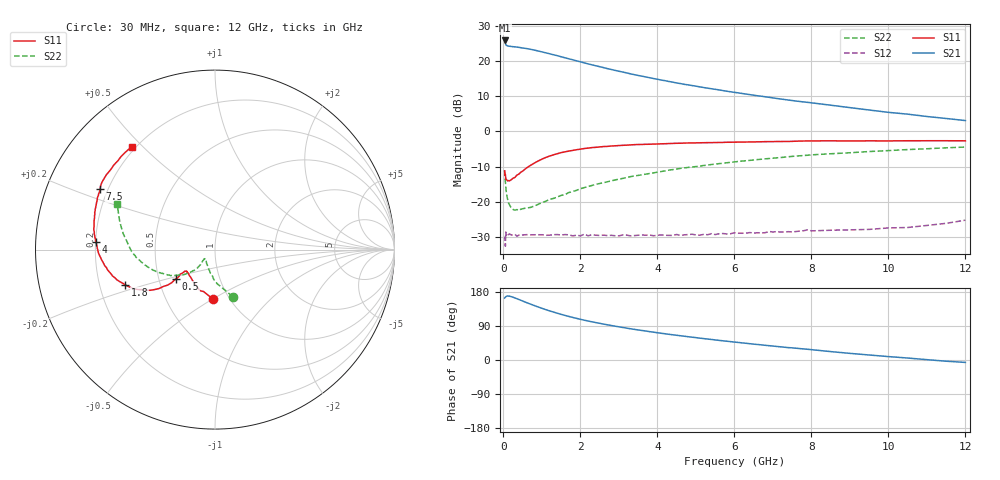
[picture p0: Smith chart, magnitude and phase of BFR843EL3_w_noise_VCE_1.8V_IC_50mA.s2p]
! Infineon Technologies  Discrete & RF Semiconductors
! BFR843EL3
! VCE =  1.8 V,  IC =  50 mA
! Common Emitter S-Parameters:  Aug 2013
# GHz  S  MA  R  50
!  f  S11  S21  S12  S22
! GHz  MAG  ANG  MAG  ANG  MAG  ANG  MAG  ANG
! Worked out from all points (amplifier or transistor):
!   103 points, 30 MHz to 12 GHz, reference 50 ohm
!   highest |S21| = 25.9 dB at 30 MHz (marker M1)
!   |S21| within 3 dB of that: start of sweep to 904.1 MHz
!   unconditionally stable (mu >= 1): 38.46 MHz to end of sweep
!   at 400 MHz: K = 1.15, MAG = 24.4 dB, |S12| = -29.5 dB
!   at 3.7 GHz: K = 1.35, MAG = 19.0 dB, |S12| = -29.5 dB
!   at 12 GHz: K = 2.09, MAG = 8.2 dB, |S12| = -25.2 dB
!   lowest NFmin = 1.75 dB at 450 MHz
!   S11 on the Smith chart (normalised r, x): 30 MHz: 0.84, -0.50; 500 MHz: 0.61, -0.22; 1.8 GHz: 0.31, -0.17; 4 GHz: 0.20, +0.03; 7.5 GHz: 0.17, +0.24; 12 GHz: 0.19, +0.46
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0.03  0.2753 -92.6  19.63 163.5  0.0297 27.6  0.2795 -69.4
0.04  0.2422 -105.2  18.43 164.6  0.0315 24.2  0.2221 -78.2
0.06  0.2145 -125.1  17.19 167.0  0.0372 22.2  0.1658 -92.5
0.09  0.2031 -134.6  16.62 168.6  0.0351 9.8  0.1206 -104.8
0.14  0.1994 -142.6  16.29 168.7  0.0342 8.6  0.0935 -117.9
0.35  0.2391 -144.9  15.79 161.8  0.0324 4.3  0.0775 -138.5
0.5  0.2734 -143.3  15.34 155.6  0.0338 2.5  0.0796 -138.6
0.8  0.3539 -144.5  14.32 143.7  0.034 2.8  0.087 -137.5
1.1  0.4265 -147.9  13.09 132.9  0.0334 3.5  0.1017 -134.9
1.4  0.4822 -152.5  11.92 123.4  0.0342 2.9  0.1171 -133.8
1.8  0.5376 -158.6  10.43 112.3  0.0328 4.3  0.1399 -133.7
2.1  0.5713 -162.8  9.419 105.0  0.0346 3.9  0.1592 -134.9
2.6  0.6094 -169.4  8.069 94.7  0.0336 7.7  0.1867 -137.4
3  0.6298 -173.9  7.164 87.5  0.0328 9.7  0.21 -140.0
4  0.6634 176.5  5.51 71.9  0.0334 12.4  0.2637 -147.1
4.1  0.6669 175.8  5.374 70.5  0.0338 12.2  0.269 -147.6
5  0.6876 168.5  4.401 59.0  0.0338 17.3  0.3168 -154.9
6.1  0.7045 160.8  3.53 46.3  0.0358 21.6  0.3747 -163.3
7.5  0.7227 152.3  2.749 32.1  0.0372 25.6  0.4419 -174.5
8.5  0.735 145.5  2.361 22.2  0.0394 28.1  0.4815 177.3
10.5  0.7369 135.3  1.76 5.2  0.0431 37.4  0.5523 163.8
12  0.7358 129.2  1.426 -6.4  0.0548 43.1  0.5997 155.2
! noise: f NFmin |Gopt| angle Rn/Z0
0.45  1.75  0.3  181  0.13
0.9  1.79  0.32  185  0.13
1.5  1.84  0.34  187  0.12
1.9  1.87  0.35  -172  0.12
2.4  1.91  0.38  192  0.12
3.5  1.98  0.41  198  0.13
5.5  2.11  0.47  207  0.12
8  2.27  0.57  219  0.18
10  2.39  0.6  234  0.37
